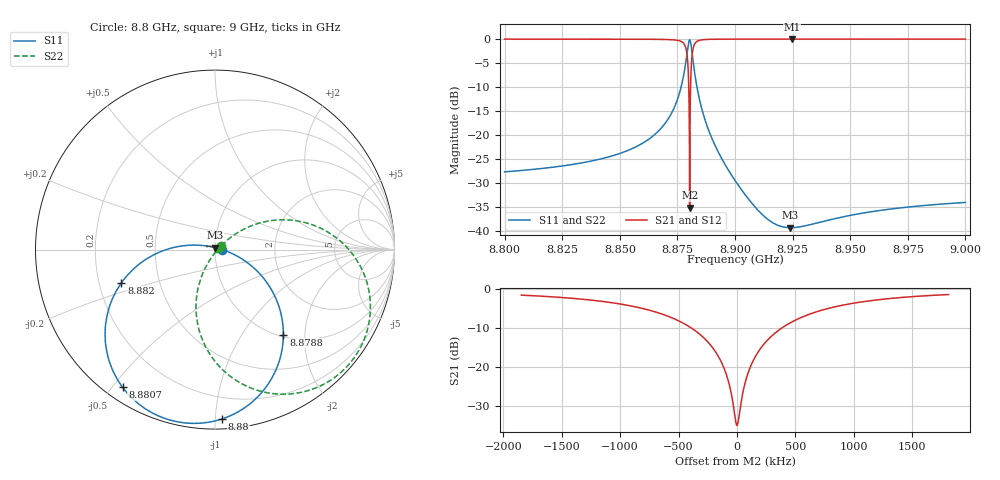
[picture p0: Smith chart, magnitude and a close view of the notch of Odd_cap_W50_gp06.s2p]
! Sonnet Data File
! From: emgraph Version : 16.52
! From Project: Resonator2_cp
! Data is De-embedded
! Data File Written: 10/07/2017 20:46:09
!< HDATE 10/07/2017 17:10:37
!< MDATE 10/07/2017 17:10:37
!< PARAMS
!< gap = 6.0
!< Length = 400.0
!< Pwid1 = 2000.0
!< Pwid2 = 2000.0
!< Air_gap = 30.0
!< Width = 50.0
!< END PARAMS
# GHZ S MA R 47.50000
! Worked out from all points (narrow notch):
!   1595 points, 8.8 GHz to 9 GHz, reference 47.5 ohm
!   highest |S21| = 0.00 dB at 8.9248 GHz (marker M1); lowest = -35.1 dB at 8.8803 GHz (marker M2)
!   notch at M2: 35.1 dB deep, 309 kHz wide at half that depth
!   lowest |S11| = -39.2 dB at 8.924 GHz (marker M3), VSWR 1.02, Z = 47.7 + j1.01 ohm
!   |S11| at or under -10 dB: start of sweep to 8.8766 GHz; 8.8835 GHz to end of sweep
!   |S22| runs from -39.2 to -0.2 dB; largest |S21 - S12| = 0
!   S11 on the Smith chart (normalised r, x): 8.8 GHz: 1.09, -0.00; 8.8788 GHz: 1.04, -1.56; 8.88 GHz: 0.06, -1.04; 8.8807 GHz: 0.05, -0.53; 8.882 GHz: 0.30, -0.16; 9 GHz: 1.04, +0.01
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8.8  0.04159 -0.2  0.9991 -73.6  0.9991 -73.6  0.04159 33.0
!< P1 F=8.8 Eeff=(5.02890353 -2.1766e-5) Z0=(47.410578 1.04358e-4) R=0.0 C=0.0
!< P2 F=8.8 Eeff=(5.02890353 -2.1766e-5) Z0=(47.410578 1.04358e-4) R=0.0 C=0.0
8.8334  0.05149 -4.1  0.9987 -74.5  0.9987 -74.5  0.05149 35.1
8.866678  0.1099 -14.4  0.9938 -78.2  0.9938 -78.2  0.1099 38.0
8.8754  0.2507 -26.1  0.9671 -86.5  0.9671 -86.5  0.2508 32.8
8.878787  0.6082 -51.2  0.7858 -109.4  0.7858 -109.4  0.6085 10.9
8.879579  0.8337 -71.5  0.5297 -128.4  0.5297 -128.4  0.834 -8.5
8.879981  0.9444 -87.6  0.2764 -142.5  0.2764 -142.5  0.9447 -24.3
8.880199  0.9772 -98.0  0.1029 -146.4  0.1029 -146.4  0.9776 -34.4
8.880318  0.9822 -103.8  0.01759 -72.7  0.01759 -72.7  0.9826 -40.1
8.880382  0.9807 -107.0  0.05687 -3.1  0.05687 -3.1  0.9811 -43.2
8.880455  0.9754 -110.6  0.1177 2.7  0.1177 2.7  0.9758 -46.7
8.880735  0.9239 -123.9  0.339 -4.6  0.339 -4.6  0.9243 -59.7
8.881221  0.7704 -142.6  0.6198 -21.6  0.6198 -21.6  0.7707 -77.9
8.881967  0.5528 -160.5  0.8261 -38.4  0.8261 -38.4  0.553 -94.9
8.883441  0.3221 -176.5  0.9444 -53.2  0.9444 -53.2  0.3222 -109.1
8.8862  0.1666 172.2  0.9853 -62.5  0.9853 -62.5  0.1667 -116.7
8.9  0.03389 149.1  0.9994 -70.3  0.9994 -70.3  0.03393 -109.5
8.924  0.01093 76.2  0.9999 -72.3  0.9999 -72.3  0.01095 -40.9
8.9248  0.01093 73.7  0.9999 -72.4  0.9999 -72.4  0.01095 -38.4
8.9334  0.01185 52.7  0.9999 -72.7  0.9999 -72.7  0.01187 -18.1
8.9668  0.01698 24.8  0.9999 -73.5  0.9999 -73.5  0.01699 8.3
9  0.01999 17.3  0.9998 -73.9  0.9998 -73.9  0.02 14.8
